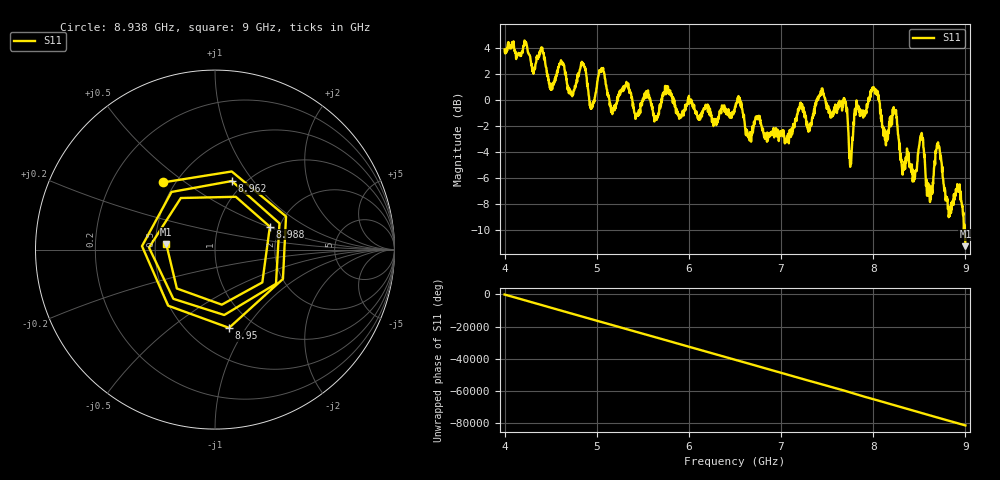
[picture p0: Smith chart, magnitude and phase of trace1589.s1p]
! Created with skrf 1.8.0 (http://scikit-rf.org).
# Hz S RI R 50.0
!freq ReS11 ImS11
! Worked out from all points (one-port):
!   1601 points, 4 GHz to 9 GHz, reference 50 ohm
!   lowest |S11| = -11.3 dB at 9 GHz (marker M1), VSWR 1.75, Z = 28.6 + j1.79 ohm
!   |S11| at or under -10 dB: 8.983994 GHz to 8.984016 GHz (22.13 kHz wide, 0.000246 % of centre); 8.992168 GHz to end of sweep
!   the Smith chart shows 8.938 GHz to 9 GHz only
!   S11 on the Smith chart (normalised r, x): 8.938 GHz: 0.43, +0.42; 8.95 GHz: 0.77, -0.84; 8.962 GHz: 0.87, +0.79; 8.988 GHz: 1.79, +0.51; 9 GHz: 0.57, +0.04
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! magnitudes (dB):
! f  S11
! 4 GHz  3.9
! 4.403 GHz  4.0
! 4.506 GHz  0.9
! 4.625 GHz  3.0
! 4.722 GHz  0.6
! 4.853 GHz  2.8
! 4.944 GHz  -0.6
! 5.05 GHz  2.2
! 5.162 GHz  -0.8
! 5.25 GHz  0.7
! 5.875 GHz  -0.9
! 6.5 GHz  -0.5
! 7.125 GHz  -2.3
! 7.444 GHz  0.9
! 7.691 GHz  -0.2
! 7.75 GHz  -5.2
! 7.819 GHz  0.0
! 8.009 GHz  0.9
! 8.375 GHz  -4.5
! 8.525 GHz  -2.5
! 8.622 GHz  -7.1
! 8.7 GHz  -3.7
! 8.809 GHz  -8.4
! 8.938 GHz  -6.5
! 8.95 GHz  -7.1
! 8.962 GHz  -8.1
! 8.988 GHz  -9.6
! 9 GHz  -11.3
